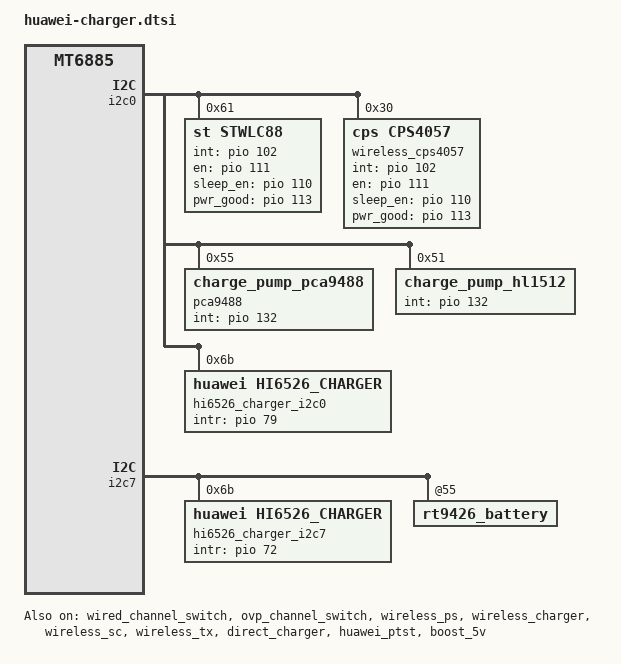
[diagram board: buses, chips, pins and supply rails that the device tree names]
#include "../huawei_charger/mt6885_yor_huawei_charger.dtsi"
&charger {
	bc12_charger = <0>; /* usb switch do bc12 */
};

&pio {
	stwlc88_irq_pins_default: stwlc88_irq_pins_default {
		pins_cmd_dat {
			pinmux = <PINMUX_GPIO102__FUNC_GPIO102>;
			slew-rate = <0>;
			bias-pull-up;
		};
	};
	pca9488_irq_pins_default: pca9488_irq_pins_default {
		pins_cmd_dat {
			pinmux = <PINMUX_GPIO132__FUNC_GPIO132>;
			slew-rate = <0>;
			bias-pull-up;
		};
	};
};

&i2c0 {
	#address-cells = <1>;
	#size-cells = <0>;
	stwlc88@61 {
		compatible = "st,stwlc88";
		reg = <0x61>;
		pinctrl-names = "default";
		pinctrl-0 = <&stwlc88_irq_pins_default>;
		gpio_int = <&pio 102 0x0>;
		gpio_en = <&pio 111 0x0>;
		gpio_sleep_en = <&pio 110 0x0>;
		gpio_pwr_good = <&pio 113 0x0>;
		gpio_en_valid_val = <0>;
		rx_ss_good_lth = <110>;
		rx_ldo_cfg_5v = /bits/ 8 <0x13 0x13 0x0D 0x03 0x13 0x20 0x2C>;
		rx_ldo_cfg_9v = /bits/ 8 <0x13 0x13 0x0D 0x03 0x13 0x20 0x2C>;
		rx_ldo_cfg_12v = /bits/ 8 <0x13 0x13 0x0D 0x03 0x13 0x20 0x2C>;
		rx_ldo_cfg_sc = /bits/ 8 <0x2F 0x2F 0x0D 0x03 0x13 0x20 0x2C>;
		rx_fod_5v = /bits/ 8 <0x0A 0x0F 0x26 0x46 0x6E 0x00 0x00 0x00 0x00 0x00 0x00 0x18 0x17 0x18 0x16 0x13 0x11 0x8B>;
		rx_fod_9v = /bits/ 8 <0x31 0x42 0x54 0x7C 0x91 0x00 0x00 0x00 0x00 0x00 0x00 0x13 0x0D 0x08 0xFC 0xE1 0xCE 0x8C>;
		rx_fod_12v = /bits/ 8 <0x31 0x42 0x54 0x7C 0x91 0x00 0x00 0x00 0x00 0x00 0x00 0x13 0x0D 0x08 0xFC 0xE1 0xCE 0x8C>;
		rx_fod_15v = /bits/ 8 <0x72 0x7E 0xD4 0xDC 0xFA 0x00 0x00 0x00 0x00 0x00 0x00 0x3F 0x0A 0xFF 0xFF 0xCB 0x84 0x8B>;
		temp_para = <
			/* temp(min,max] ilim temp_back */
			0   100       2500 10
			100 999       1500 0
		>;
		time_para = <
			/* time  ilim */
			300   2000
			0     2500
		>;
		status = "ok";
	};

	wireless_cps4057@30 {
		compatible = "cps,cps4057";
		reg = <0x30>;
		pinctrl-names = "default";
		pinctrl-0 = <&stwlc88_irq_pins_default>;
		gpio_int = <&pio 102 0x0>;
		gpio_en = <&pio 111 0x0>;
		gpio_sleep_en = <&pio 110 0x0>;
		gpio_pwr_good = <&pio 113 0x0>;
		rx_fod_5v = /bits/ 8 <0x00 0x13 0x3D 0x47 0x96 0x96 0x96 0x96 0x44 0x05 0x44 0x09 0x44 0x08 0x44 0x07 0x44 0x07 0x44 0x07 0x44 0x07 0x44 0x07>;
		rx_fod_9v = /bits/ 8 <0x00 0x13 0x3D 0x47 0xC8 0xC8 0xC8 0xC8 0x41 0x0A 0x41 0x0A 0x41 0x0A 0x41 0x0A 0x41 0x0A 0x41 0x0A 0x41 0x0A 0x41 0x0A>;
		rx_fod_15v = /bits/ 8 <0x00 0x13 0x3D 0x47 0xC8 0xC8 0xC8 0xC8 0x41 0x12 0x41 0x12 0x41 0x12 0x41 0x12 0x41 0x12 0x41 0x12 0x41 0x12 0x41 0x12>;
		tx_ploss_th0 = <2000>; /* 5v full bridge */
		tx_ploss_th1 = <2500>; /* 10v half bridge */
		tx_ploss_th2 = <1700>; /* 10v full bridge low voltage */
		tx_ploss_th3 = <2400>; /* 10v full bridge high voltage */
		tx_ploss_cnt = <3>;
		full_bridge_ith = <400>;
		rx_ldo_cfg_5v = /bits/ 8 <0x32 0x00 0x90 0x01 0x2C 0x01 0x64 0x00>;
		rx_ldo_cfg_9v = /bits/ 8 <0x32 0x00 0x20 0x03 0x2C 0x01 0x64 0x00>;
		rx_ldo_cfg_sc = /bits/ 8 <0x32 0x00 0x20 0x03 0x2C 0x01 0x64 0x00>;
		time_para = <
			/* time  ilim */
			300   2000
			0     2500
		>;
		temp_para = <
			/* temp(min,max] ilim temp_back */
			0   100       2500 10
			100 999       1500 0
		>;
		status = "ok";
	};

	pca9488@55 {
		compatible = "charge_pump_pca9488";
		reg = <0x55>;
		pinctrl-names = "default";
		pinctrl-0 = <&pca9488_irq_pins_default>;
		gpio_int = <&pio 132 0x0>;
		status = "ok";
	};

	charge_pump_hl1512@51 {
		compatible = "charge_pump_hl1512";
		reg = <0x51>;
		gpio_int = <&pio 132 0x0>;
		status = "ok";
	};

	bq25970@65 {
		status = "disabled";
	};

	hi6526_charger_i2c0@6B{
		compatible = "huawei,hi6526_charger";
		reg = <0x6B>;
		dbg_check_en = <1>;
		intr_gpio_num = <79>; /* direct defined GPIO num */
		intr_gpio = <&pio 79 0x0>;
		bat_comp = <60>;
		vclamp = <192>;
		fcp_support = <1>;
		scp_support = <1>;
		lvc_ibat_regulator = <12200>;
		lvc_vbat_regulator = <4500>;
		lvc_vout_regulator = <4550>;
		lvc_ibus_regulator = <5600>;
		sc_ibat_regulator = <12200>;
		sc_vbat_regulator = <4500>;
		sc_vout_regulator = <4550>;
		sc_ibus_regulator = <5000>;
		lvc_vusb2vbus_drop_en = <1>;
		sc_vusb2vbus_drop_en = <1>;
		/* loop mode must be turned off, if temperature channels need to be acquired */
		adc_single_mode_en = <0>;
		adc_tsbat_support = <0>;
		vusb_uv_flag = <1>;
		r_coul_mohm = <1>;
		ic_role = <1>;
		status = "ok";
	};
};

&i2c7 {
	#address-cells = <1>;
	#size-cells = <0>;
	fairchild_fsa9685@25 {
		status = "disabled";
	};
	bq25970@65 {
		status = "disabled";
	};
	hi6526_charger_i2c7@6B{
		compatible = "huawei,hi6526_charger";
		reg = <0x6B>;
		dbg_check_en = <1>;
		bat_comp = <60>;
		vclamp = <192>;
		fcp_support = <1>;
		scp_support = <1>;
		lvc_ibat_regulator = <12200>;
		lvc_vbat_regulator = <4500>;
		lvc_vout_regulator = <4550>;
		lvc_ibus_regulator = <5600>;
		sc_ibat_regulator = <12200>;
		sc_vbat_regulator = <4500>;
		sc_vout_regulator = <4550>;
		sc_ibus_regulator = <5600>;
		lvc_vusb2vbus_drop_en = <1>;
		sc_vusb2vbus_drop_en = <1>;
		/* loop mode must be turned off, if temperature channels need to be acquired */
		adc_single_mode_en = <0>;
		adc_tsbat_support = <0>;
		vusb_uv_flag = <1>;
		intr_gpio_num = <72>; /* direct defined GPIO num */
		intr_gpio = <&pio 72 0x0>;
		r_coul_mohm = <1>;
		ic_role = <0>;
		status = "ok";
	};
	rt9426_battery@55{
		status = "ok";
	};
};

&vbus_channel_boost_gpio {
	gpio_otg_switch = <&pio 138 0x0>;
	status = "ok";
};

&usb_boost_manager {
	compatible = "mediatek,usb_boost";
	status = "disabled";
};

&pd_dpm {
	otg_channel = <1>;
};

&wired_channel_switch {
	use_ovp_cutoff_wired_channel = <1>;
	use_super_switch_cutoff_wired_channel = <0>;
	use_wireless_switch_cutoff_wired_channel = <0>;
	status = "ok";
};

&ovp_channel_switch {
	gpio_ovp_chsw_en = <&pio 112 0x0>;
	gpio_low_by_set_input = <0>;
	status = "ok";
};

&wireless_ps {
	gpio_txsw = <&pio 22 0x0>;
	gpio_txsw_valid_val = <1>;
	gpio_rxsw = <&pio 101 0x0>;
	gpio_rxsw_valid_val = <0>;
	gpio_ext_pwr_sw = <&pio 5 0x0>;
	gpio_ext_pwr_sw_valid_val = <1>;
	tx_ps_ctrl_src = <1>; /* 0:NA 1:tx_chip 2:AP */
	sysfs_en_pwr = <1>; /* 0:null 1:rx_pwr 2:tx_pwr */
	proc_otp_pwr = <1>; /* 0:null 1:rx_pwr 2:tx_pwr */
	status = "ok";
};

&wireless_charger {
	pmax = <30>;
	product_max_pwr = <50000>;
	ui_max_pwr = <27000>;
	fod_status = <0x3163>; /* b1:fop b2:q_val */
	antifake_key_index = <1>;
	interference_para =
		"0x01", "0xfe", "131", "5000", "5500", "475",
		"0x02", "0xfd", "-1",  "-1",   "-1",   "1000",
		"0x03", "0xfc", "-1", "5000",  "5500",  "825";
	rx_mode_para =
		/*This table should be arranged in ascending order of power mode priority*/
		/*mode  tx_vout  tx_iout tx_vset  rx_vset  rx_iset vrect_lth tbatt cable cert  icon time expect_mode*/
		"5W",   "5000",  "475",  "5000",  "5500",  "825",  "4650",   "-1", "-1", "-1", "0", "-1",  "4",
		"7.5W", "9000",  "1400", "9000",  "9900",  "825",  "8000",   "-1", "-1", "-1", "0", "-1",  "2",
		"10W",  "9000",  "2000", "9000",  "9900",  "1100", "9000",   "-1", "-1", "1",  "1", "-1",  "4",
		"SC_2", "9000",  "2000", "9000",  "9000",  "-1",   "-1",     "45", "-1", "1",  "1", "-1",  "4",
		"SC_4", "15000", "1800", "15000", "15000", "-1",   "-1",     "45", "-1", "1",  "2", "-1",  "-1";
	status = "ok";
};

&wireless_sc {
	support_multi_ic = <1>;
	single_ic_cp_iout_th = <4100>;
	multi_ic_para = <3000 1000 2300 10000>;
	ibat_max_hth = <10000>;
	ibat_min_lth = <9700>;
	max_vgap = <250>;
	iout_drop_th = <1500>;
	tbat_limit_para = <10 13 46 42>;
	init_para =
		/* in ratio-descending order
		 * ext_pwr: bit(0): needed by sc chip; bit(1): needed by rx
		 * type   type_name ext_pwr rx_ratio vbatt(lth, hth) rx_vout  vout_th vdiff  ileak_th vdelt  rx_vmax
		 */
		   "0x2", "SC_2",   "0",    "1",     "3550", "4380", "9000",  "450",  "300", "100",   "300", "10000",
		   "0x4", "SC_4",   "2",    "2",     "3550", "4380", "15000", "500",  "300", "100",   "300", "20000";
	volt_para00 =
		"4400", "1500", "1000";
	volt_para01 =
		"4150", "5200", "3000",
		"4250", "3000", "2000",
		"4300", "2000", "1400",
		"4400", "1400", "1000";
	volt_para02 =
		"4250", "5200", "4000",
		"4300", "4000", "3000",
		"4380", "3000", "2400",
		"4400", "2400", "1000";
	bat_para =
		"default", "10", "46", "0x02", "volt_para00",
		"default", "10", "46", "0x04", "volt_para01",
		"CAE", "10", "46", "0x02", "volt_para00",
		"CAE", "10", "20", "0x04", "volt_para01",
		"CAE", "20", "46", "0x04", "volt_para02";
	vbat_comp_para =
		"hi6526", "30", "30";
	status = "ok";
};

&wireless_tx {
	pwr_type = <3>; /* 5VBST */
	/* rx_vmin rx_vmax tx_vset tx_lvset tx_hvset tx_pl_th tx_pl_cnt ext_hdl */
	tx_vset_para = < 4900 6400 5000 4500 6300 0 0 0 >;
	/* power_supply ping handshake default */
	tx_stage_vset = <5000 5000 5000 5000>;
	/* type vout iout extra */
	tx_cap = <
		0x9 5000 500  0
	>;
	status = "ok";
};

&direct_charger {
	status = "ok";
};

&huawei_ptst {
	/* definition refered to huawei_power_test.dtsi */
	wlc_mmi = <1>;
	wlc_mmi_para = <40 0x07 2 2000 15000 0>;
	wl_hw_test = <1>;
	wl_hw_module = <0x1>;
	wlc_wp = <1>;
	wlc_wp_para = <1000>;
	status = "ok";
};

&boost_5v {
	boost_5v_use_common_pmic = <1>;
	status = "ok";
};
